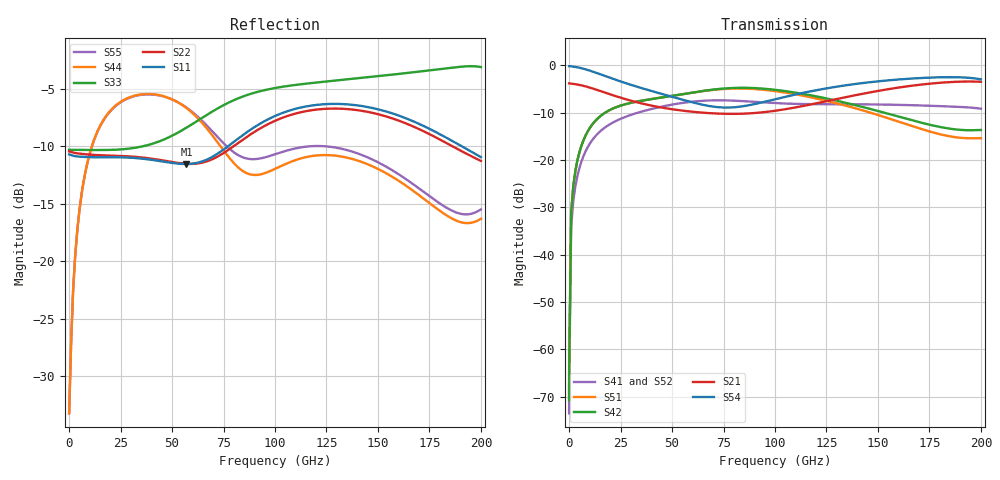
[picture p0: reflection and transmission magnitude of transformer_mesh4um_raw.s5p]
#  GHZ S DB R 50.0
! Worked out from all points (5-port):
!   202 points, 10 MHz to 200 GHz, reference 50 ohm
!   strongest paths, dB at 10 MHz, 49 GHz, 100 GHz, 150 GHz, 200 GHz:
!     S54: -0.2, -6.5, -7.2, -3.4, -3.0
!     S21: -3.8, -9.2, -9.6, -5.4, -3.5
!     S42: -70.8, -6.5, -5.2, -9.7, -13.7
!     S51: -70.8, -6.5, -5.5, -10.5, -15.4
!     S41: -73.5, -8.4, -8.0, -8.3, -9.2
!     S52: -73.5, -8.4, -8.0, -8.4, -9.4
!   lowest |S11| = -11.6 dB at 57 GHz (marker M1), VSWR 1.72, Z = 70.7 + j25.1 ohm
!   |S11| at or under -10 dB: start of sweep to 77.34 GHz; 190.5 GHz to end of sweep
